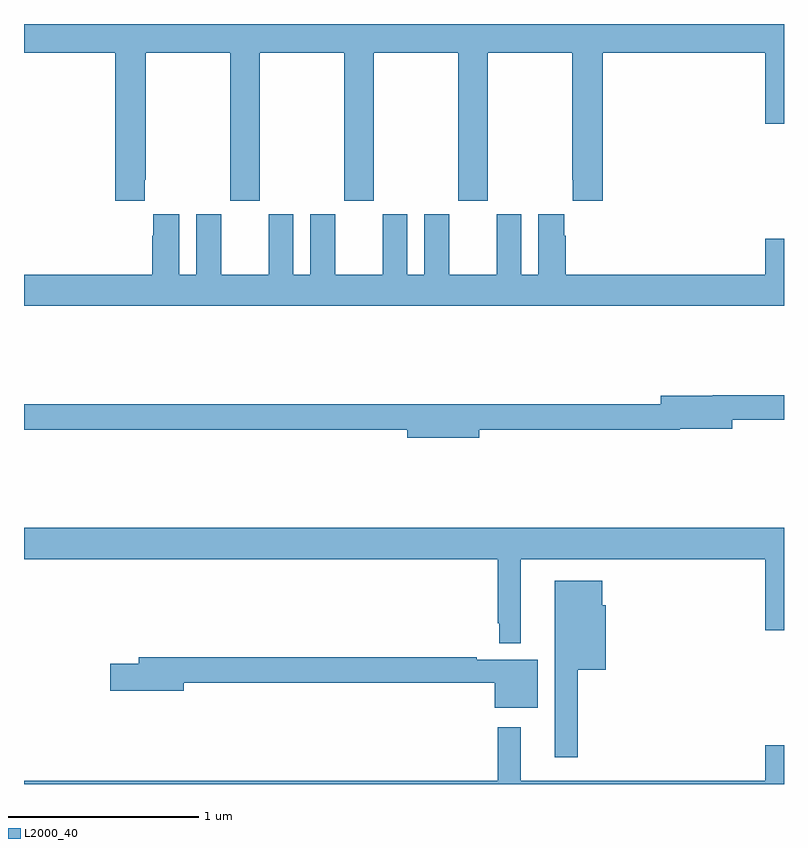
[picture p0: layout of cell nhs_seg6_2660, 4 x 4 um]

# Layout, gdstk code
import gdstk
lib = gdstk.Library(unit=1e-6, precision=1e-09)
def P(c, l, *ps):  # polygons
    for p in ps: c.add(gdstk.Polygon(p, *l))
L2000_40 = (2000, 40)

nhs_seg6_2660 = lib.new_cell('nhs_seg6_2660')
P(nhs_seg6_2660, L2000_40, [(269.635,934.681),(269.64,934.681),(269.64,935.348),(270.085,935.348),(270.085,934.569),(270.24,934.569),(270.24,935.348),(270.685,935.348),(270.685,934.569),(270.84,934.569),(270.84,935.348),(271.285,935.348),(271.285,934.569),(271.44,934.569),(271.44,935.348),(271.885,935.348),(271.885,934.681),(271.889,934.681),(271.889,934.569),(272.045,934.569),(272.045,935.348),(272.9,935.348),(272.9,934.974),(273,934.974),(273,935.5),(269,935.5),(269,935.348),(269.48,935.348),(269.48,934.569),(269.635,934.569)],
  [(273,934.369),(272.9,934.369),(272.9,934.18),(271.85,934.18),(271.85,934.385),(271.843,934.385),(271.843,934.498),(271.706,934.498),(271.706,934.18),(271.618,934.18),(271.618,934.498),(271.487,934.498),(271.487,934.18),(271.237,934.18),(271.237,934.498),(271.106,934.498),(271.106,934.18),(271.018,934.18),(271.018,934.498),(270.887,934.498),(270.887,934.18),(270.637,934.18),(270.637,934.498),(270.506,934.498),(270.506,934.18),(270.418,934.18),(270.418,934.498),(270.287,934.498),(270.287,934.18),(270.037,934.18),(270.037,934.498),(269.906,934.498),(269.906,934.18),(269.818,934.18),(269.818,934.498),(269.681,934.498),(269.681,934.385),(269.675,934.385),(269.675,934.18),(269,934.18),(269,934.016),(273,934.016)],
  [(271.396,933.364),(272.452,933.364),(272.452,933.371),(272.728,933.371),(272.728,933.418),(273,933.418),(273,933.547),(272.624,933.547),(272.624,933.543),(272.352,933.543),(272.352,933.5),(269,933.5),(269,933.364),(271.016,933.364),(271.016,933.322),(271.396,933.322)],
  [(271.615,932.684),(272.9,932.684),(272.9,932.31),(273,932.31),(273,932.848),(269,932.848),(269,932.684),(271.494,932.684),(271.494,932.347),(271.5,932.347),(271.5,932.24),(271.615,932.24)],
  [(271.915,932.102),(272.062,932.102),(272.062,932.442),(272.044,932.442),(272.044,932.569),(271.793,932.569),(271.793,931.641),(271.915,931.641)],
  [(271.705,932.155),(271.382,932.155),(271.382,932.168),(269.603,932.168),(269.603,932.132),(269.454,932.132),(269.454,931.99),(269.842,931.99),(269.842,932.032),(271.478,932.032),(271.478,931.901),(271.705,931.901)],
  [(273,931.705),(272.9,931.705),(272.9,931.516),(271.615,931.516),(271.615,931.798),(271.494,931.798),(271.494,931.516),(269,931.516),(269,931.5),(273,931.5)])

lib.write_gds('nhs_seg6_2660.gds')
